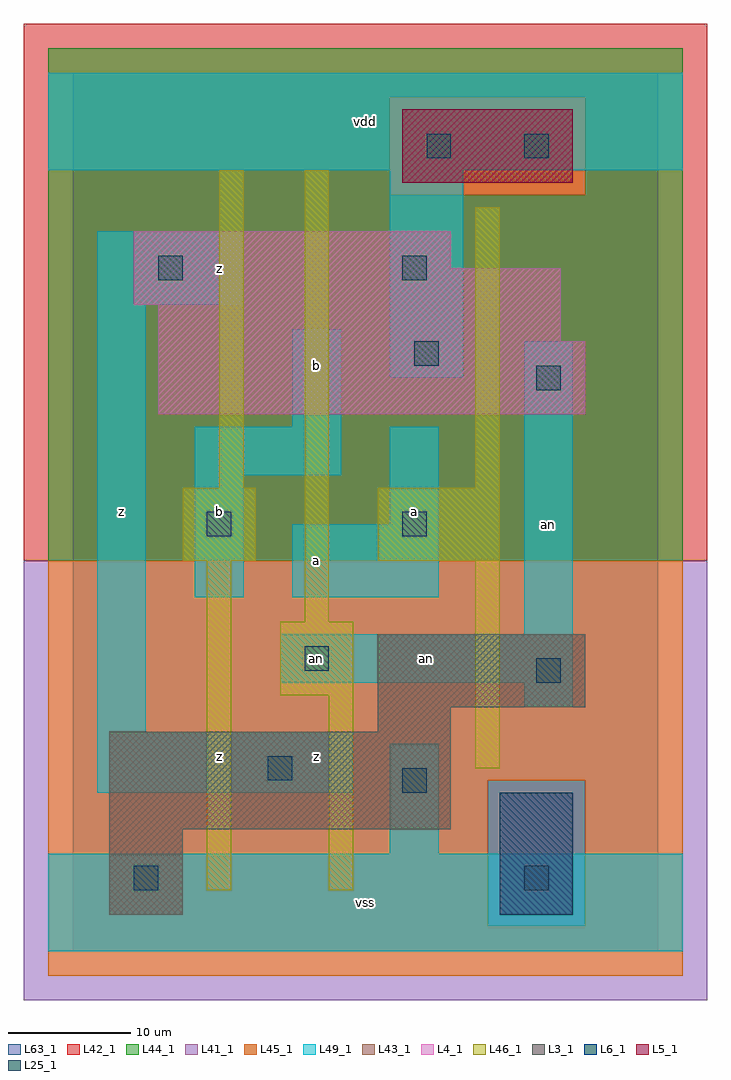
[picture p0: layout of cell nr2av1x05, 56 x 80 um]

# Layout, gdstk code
import gdstk
lib = gdstk.Library(unit=1e-6, precision=1e-09)
def R(c, l, rs):  # rectangles x0, y0, x1, y1
    for r in rs: c.add(gdstk.rectangle(r[:2], r[2:], *l))
def A(c, l, x, y, w, h, nx, ny, dx, dy):  # array of equal rectangles
    R(c, l, [(x+i*dx, y+j*dy, x+i*dx+w, y+j*dy+h) for i in range(nx) for j in range(ny)])
L3_1 = (3, 1)
L4_1 = (4, 1)
L5_1 = (5, 1)
L6_1 = (6, 1)
L25_1 = (25, 1)
L41_1 = (41, 1)
L42_1 = (42, 1)
L43_1 = (43, 1)
L44_1 = (44, 1)
L45_1 = (45, 1)
L46_1 = (46, 1)
L49_1 = (49, 1)
L63_1 = (63, 1)

nr2av1x05 = lib.new_cell('nr2av1x05')
R(nr2av1x05, L3_1, [(3,3,9,10), (3,10,31,18), (25,18,31,20), (25,20,42,26)])
R(nr2av1x05, L4_1, [(7,44,42,50), (7,50,40,53), (5,53,40,56), (5,56,31,59)])
R(nr2av1x05, L5_1, [(27,63,41,69)])
R(nr2av1x05, L6_1, [(35,3,41,13), (35,3,41,13)])
A(nr2av1x05, L25_1, 27, 13, 2, 2, 1, 3, 0, 21)
R(nr2av1x05, L25_1, [(5,5,7,7), (37,5,39,7), (16,14,18,16), (38,22,40,24), (19,23,21,25), (11,34,13,36), (38,46,40,48), (28,48,30,50), (7,55,9,57), (29,65,31,67), (37,65,39,67)])
R(nr2av1x05, L41_1, [(-4,-4,52,32)])
R(nr2av1x05, L42_1, [(-4,32,52,76)])
R(nr2av1x05, L43_1, [(3,3,9,10), (35,3,41,13), (3,10,31,18), (25,18,31,20), (25,20,42,26), (7,44,42,50), (7,50,40,53), (5,53,40,56), (5,56,31,59), (27,63,41,69)])
R(nr2av1x05, L44_1, [(34,2,42,14), (-2,32,50,62), (-2,62,26,70), (42,62,50,70), (-2,70,50,74)])
R(nr2av1x05, L45_1, [(-2,-2,50,2), (-2,2,34,14), (42,2,50,14), (-2,14,50,32), (26,62,42,70)])
R(nr2av1x05, L46_1, [(11,5,13,32), (21,5,23,21), (33,15,35,32), (17,21,23,27), (19,27,21,64), (9,32,15,38), (25,32,35,38), (12,38,14,64), (33,38,35,61)])
R(nr2av1x05, L49_1, [(-2,0,50,8), (26,8,30,17), (2,13,23,18), (2,18,6,53), (37,20,41,22), (17,22,41,26), (37,26,41,50), (10,29,14,39), (18,29,30,35), (26,35,30,43), (10,39,22,43), (18,43,22,51), (26,47,32,64), (2,53,14,59), (-2,64,50,72)])
R(nr2av1x05, L63_1, [(0,0,48,72)])
nr2av1x05.add(gdstk.Label('an', (20,24), layer=49, texttype=1))
nr2av1x05.add(gdstk.Label('z', (4,36), layer=49, texttype=1))
nr2av1x05.add(gdstk.Label('z', (20,16), layer=49, texttype=1))
nr2av1x05.add(gdstk.Label('z', (12,16), layer=49, texttype=1))
nr2av1x05.add(gdstk.Label('a', (20,32), layer=49, texttype=1))
nr2av1x05.add(gdstk.Label('b', (12,36), layer=49, texttype=1))
nr2av1x05.add(gdstk.Label('b', (20,48), layer=49, texttype=1))
nr2av1x05.add(gdstk.Label('z', (12,56), layer=49, texttype=1))
nr2av1x05.add(gdstk.Label('vss', (24,4), layer=49, texttype=1))
nr2av1x05.add(gdstk.Label('a', (28,36), layer=49, texttype=1))
nr2av1x05.add(gdstk.Label('vdd', (24,68), layer=49, texttype=1))
nr2av1x05.add(gdstk.Label('an', (29,24), layer=49, texttype=1))
nr2av1x05.add(gdstk.Label('an', (39,35), layer=49, texttype=1))

lib.write_gds('nr2av1x05.gds')
